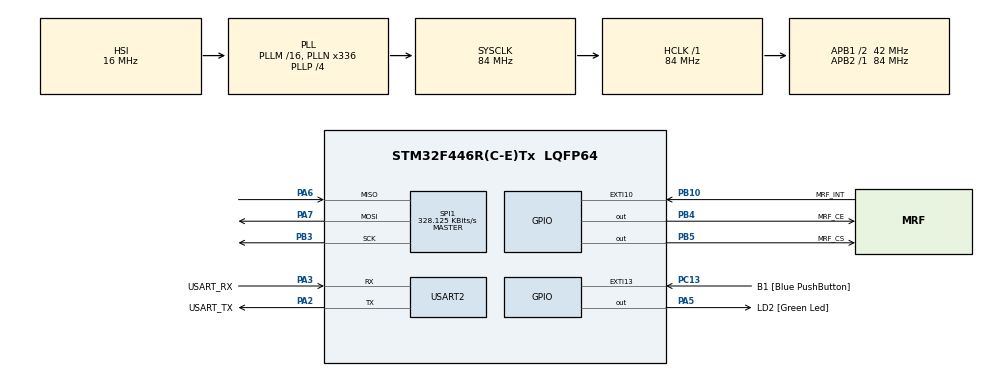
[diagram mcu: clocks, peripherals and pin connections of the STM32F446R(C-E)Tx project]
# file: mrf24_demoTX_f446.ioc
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Mcu.Family=STM32F4
Mcu.Name=STM32F446R(C-E)Tx
Mcu.Package=LQFP64
NVIC.EXTI15_10_IRQn=true\:0\:0\:false\:false\:true\:true\:true\:true
NVIC.PriorityGroup=NVIC_PRIORITYGROUP_0
NVIC.USART2_IRQn=true\:0\:0\:false\:false\:true\:true\:true\:true
PA13.GPIO_Label=TMS
PA13.Mode=Serial_Wire
PA13.Signal=SYS_JTMS-SWDIO
PA14.GPIO_Label=TCK
PA14.Mode=Serial_Wire
PA14.Signal=SYS_JTCK-SWCLK
PA2.GPIO_Label=USART_TX
PA2.Mode=Asynchronous
PA2.Signal=USART2_TX
PA3.GPIO_Label=USART_RX
PA3.Mode=Asynchronous
PA3.Signal=USART2_RX
PA5.GPIO_Label=LD2 [Green Led]
PA5.Signal=GPIO_Output
PA6.Mode=Full_Duplex_Master
PA6.Signal=SPI1_MISO
PA7.Mode=Full_Duplex_Master
PA7.Signal=SPI1_MOSI
PB10.GPIO_Label=MRF_INT
PB10.GPIO_ModeDefaultEXTI=GPIO_MODE_IT_FALLING
PB10.GPIO_PuPd=GPIO_PULLUP
PB10.Signal=GPXTI10
PB3.Mode=Full_Duplex_Master
PB3.Signal=SPI1_SCK
PB4.GPIO_Label=MRF_CE
PB4.Signal=GPIO_Output
PB5.GPIO_Label=MRF_CS
PB5.Signal=GPIO_Output
PC13.GPIO_Label=B1 [Blue PushButton]
PC13.GPIO_ModeDefaultEXTI=GPIO_MODE_IT_FALLING
PC13.Signal=GPXTI13
PC14-OSC32_IN.Signal=RCC_OSC32_IN
PC15-OSC32_OUT.Signal=RCC_OSC32_OUT
PH0-OSC_IN.Signal=RCC_OSC_IN
PH1-OSC_OUT.Signal=RCC_OSC_OUT
ProjectManager.HeapSize=0x200
ProjectManager.StackSize=0x400
ProjectManager.TargetToolchain=STM32CubeIDE
RCC.AHBFreq_Value=84000000
RCC.APB1CLKDivider=RCC_HCLK_DIV2
RCC.APB1Freq_Value=42000000
RCC.APB1TimFreq_Value=84000000
RCC.APB2Freq_Value=84000000
RCC.APB2TimFreq_Value=84000000
RCC.CortexFreq_Value=84000000
RCC.FLatency-AdvancedSettings=FLASH_LATENCY_2
RCC.HCLKFreq_Value=84000000
RCC.HSE_VALUE=8000000
RCC.HSI_VALUE=16000000
RCC.LSE_VALUE=32768
RCC.PLLN=336
RCC.PLLP=RCC_PLLP_DIV4
RCC.SYSCLKFreq_VALUE=84000000
RCC.SYSCLKSource=RCC_SYSCLKSOURCE_PLLCLK
RCC.USBFreq_Value=168000000
RCC.VCOOutputFreq_Value=336000000
SPI1.BaudRatePrescaler=SPI_BAUDRATEPRESCALER_256
SPI1.CalculateBaudRate=328.125 KBits/s
SPI1.Direction=SPI_DIRECTION_2LINES
SPI1.Mode=SPI_MODE_MASTER
SPI1.VirtualType=VM_MASTER
USART2.VirtualMode=VM_ASYNC
board=NUCLEO-F446RE

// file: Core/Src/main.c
/* USER CODE BEGIN Header */
/**
  ******************************************************************************
  * @file           : main.c
  * @brief          : Main program body
  ******************************************************************************
  * @attention
  *
  * Copyright (c) 2026 STMicroelectronics.
  * All rights reserved.
  *
  * This software is licensed under terms that can be found in the LICENSE file
  * in the root directory of this software component.
  * If no LICENSE file comes with this software, it is provided AS-IS.
  *
  ******************************************************************************
  */
/* USER CODE END Header */
#include "main.h"

/* USER CODE BEGIN Includes */
#include "MRF24J40.h"
#include <stdio.h>
#include <string.h>
#include <stdlib.h>
#include <ctype.h>
/* USER CODE END Includes */

/* USER CODE BEGIN PD */
#define TX_COMMAND_MAX_LEN 32U

/* USER CODE END PD */

SPI_HandleTypeDef hspi1;

UART_HandleTypeDef huart2;

void SystemClock_Config(void);
static void MX_GPIO_Init(void);
static void MX_SPI1_Init(void);
static void MX_USART2_UART_Init(void);
/* USER CODE BEGIN PFP */
static void TX_SendPcCommand(uint8_t *cmd, uint8_t len);
static uint8_t TX_CommandIsValid(const uint8_t *cmd, uint8_t len);
static uint8_t TX_WaitMrfTxOk(uint8_t previous_tx_count);
static void TX_ProcessPcCommand(uint8_t *cmd, uint8_t *len);

/* USER CODE END PFP */

/* USER CODE BEGIN 0 */

static void TX_SendPcCommand(uint8_t *cmd, uint8_t len)
{
  if (len == 0U)
  {
	  return;
  }

  uint8_t *tx_data = cmd;
  uint8_t tx_len = len;
  uint8_t repeats = 1U;
  uint8_t tx_before = flag_got_tx;
  uint8_t tx_ok = 0U;

  for (uint8_t n = 0; n < repeats; n++)
  {
	  Mrf24j_send16(0xffff, (char*)tx_data, tx_len);
	  tx_ok = TX_WaitMrfTxOk(tx_before);
	  tx_before = flag_got_tx;
  }

  if (tx_ok)
  {
	  HAL_GPIO_TogglePin(LD2_GPIO_Port, LD2_Pin);
	  HAL_UART_Transmit(&huart2, (uint8_t*)"TX OK ", 6, 100);
	  HAL_UART_Transmit(&huart2, cmd, len, 100);
	  HAL_UART_Transmit(&huart2, (uint8_t*)"\r\n", 2, 100);
  }
  else
  {
	  char msg[32];
	  uint8_t txstat = Mrf24j_read_short(MRF_TXSTAT);
	  if ((txstat & ((1 << TXNSTAT) | (1 << CCAFAIL))) == 0U)
	  {
		  HAL_GPIO_TogglePin(LD2_GPIO_Port, LD2_Pin);
		  HAL_UART_Transmit(&huart2, (uint8_t*)"TX OK ", 6, 100);
		  HAL_UART_Transmit(&huart2, cmd, len, 100);
		  HAL_UART_Transmit(&huart2, (uint8_t*)"\r\n", 2, 100);
	  }
	  else
	  {
		  int msg_len = snprintf(msg, sizeof(msg), "TX FAIL stat=0x%02X\r\n", txstat);
		  if (msg_len > 0)
		  {
			  HAL_UART_Transmit(&huart2, (uint8_t*)msg, (uint16_t)msg_len, 100);
		  }
	  }
  }
}

static uint8_t TX_WaitMrfTxOk(uint8_t previous_tx_count)
{
  uint32_t start = HAL_GetTick();

  while ((HAL_GetTick() - start) < 500U)
  {
	  if (HAL_GPIO_ReadPin(MRF_INT_GPIO_Port, MRF_INT_Pin) == GPIO_PIN_RESET)
	  {
		  Mrf24j_interrupt_handler();
	  }

	  uint8_t intstat = Mrf24j_read_short(MRF_INTSTAT);
	  if (intstat & MRF_I_TXNIF)
	  {
		  uint8_t txstat = Mrf24j_read_short(MRF_TXSTAT);
		  flag_got_tx++;
		  tx_info.tx_ok = ((txstat & ((1 << TXNSTAT) | (1 << CCAFAIL))) == 0U);
		  tx_info.retries = txstat >> 6;
		  tx_info.channel_busy = (txstat & (1 << CCAFAIL));
	  }

	  if (flag_got_tx != previous_tx_count)
	  {
		  return tx_info.tx_ok ? 1U : 0U;
	  }
  }

  uint8_t txstat = Mrf24j_read_short(MRF_TXSTAT);
  return ((txstat & ((1 << TXNSTAT) | (1 << CCAFAIL))) == 0U) ? 1U : 0U;
}

static uint8_t TX_CommandIsValid(const uint8_t *cmd, uint8_t len)
{
  char text[TX_COMMAND_MAX_LEN];

  if ((cmd == NULL) || (len == 0U) || (len >= TX_COMMAND_MAX_LEN))
  {
	  return 0U;
  }

  memcpy(text, cmd, len);
  text[len] = '\0';

  char *p = text;
  while (isspace((unsigned char)*p))
  {
	  p++;
  }

  char *end = p;
  (void)strtol(p, &end, 10);
  if (end == p)
  {
	  return 0U;
  }

  while (isspace((unsigned char)*end))
  {
	  end++;
  }

  if (((end[0] != 'm') && (end[0] != 'M')) || ((end[1] != 'm') && (end[1] != 'M')))
  {
	  return 0U;
  }
  end += 2;

  while (isspace((unsigned char)*end))
  {
	  end++;
  }

  if ((end[0] != '0') && (end[0] != '1'))
  {
	  return 0U;
  }
  end++;

  while (isspace((unsigned char)*end))
  {
	  end++;
  }

  return (*end == '\0') ? 1U : 0U;
}

static void TX_ProcessPcCommand(uint8_t *cmd, uint8_t *len)
{
  if (*len == 0U)
  {
	  return;
  }

  HAL_UART_Transmit(&huart2, (uint8_t*)"RX ", 3, 100);
  HAL_UART_Transmit(&huart2, cmd, *len, 100);
  HAL_UART_Transmit(&huart2, (uint8_t*)"\r\n", 2, 100);

  if (TX_CommandIsValid(cmd, *len))
  {
	  TX_SendPcCommand(cmd, *len);
  }
  else
  {
	  HAL_UART_Transmit(&huart2, (uint8_t*)"ERR\r\n", 5, 100);
  }

  *len = 0U;
}

/* USER CODE END 0 */

int main(void)
{

  /* MCU Configuration--------------------------------------------------------*/

  /* Reset of all peripherals, Initializes the Flash interface and the Systick. */
  HAL_Init();

  /* Configure the system clock */
  SystemClock_Config();

  /* Initialize all configured peripherals */
  MX_GPIO_Init();
  MX_SPI1_Init();
  MX_USART2_UART_Init();
  /* USER CODE BEGIN 2 */

  // MRF SETUP
  MRF_InitSPI(&hspi1, &huart2, 0);
  MRF_InitGPIO(MRF_CS_GPIO_Port, MRF_CS_Pin, MRF_CE_GPIO_Port, MRF_CE_Pin, MRF_INT_GPIO_Port, MRF_INT_Pin);

  Mrf24j_init(20u);

  {
	  uint16_t pan = Mrf24j_get_pan();
	  uint8_t rfcon0 = Mrf24j_read_long(MRF_RFCON0);
	  uint8_t rfcon6 = Mrf24j_read_long(MRF_RFCON6);
	  uint8_t rxmcr = Mrf24j_read_short(MRF_RXMCR);
	  char msg[80];
	  int msg_len = snprintf(msg, sizeof(msg),
			  	  	  	  	 "TX MRF PAN=0x%04X RFCON0=0x%02X RFCON6=0x%02X RXMCR=0x%02X\r\n",
							 pan, rfcon0, rfcon6, rxmcr);
	  if (msg_len > 0)
	  {
		  HAL_UART_Transmit(&huart2, (uint8_t*)msg, (uint16_t)msg_len, HAL_MAX_DELAY);
	  }
  }

  /* USER CODE END 2 */

  /* Infinite loop */
  /* USER CODE BEGIN WHILE */
  HAL_UART_Transmit(&huart2, (uint8_t*)"MRF PC-command ready: use 300mm 0!\r\n", 36, HAL_MAX_DELAY);
  uint8_t pc_cmd[TX_COMMAND_MAX_LEN];
  uint8_t pc_cmd_len = 0U;
  while (1)
  {
	  uint8_t ch;

	  while (HAL_UART_Receive(&huart2, &ch, 1, 50) == HAL_OK)
	  {
		  if (ch == '!')
		  {
			  TX_ProcessPcCommand(pc_cmd, &pc_cmd_len);
		  }
		  else if ((ch == '\r') || (ch == '\n'))
		  {
			  /* Commands are ended only with '!'. Ignore terminal line endings. */
		  }
		  else if ((ch == '\b') || (ch == 0x7FU))
		  {
			  if (pc_cmd_len > 0U)
			  {
				  pc_cmd_len--;
			  }
		  }
		  else if (pc_cmd_len < (TX_COMMAND_MAX_LEN - 1U))
		  {
			  pc_cmd[pc_cmd_len++] = ch;
		  }
		  else
		  {
			  pc_cmd_len = 0U;
			  HAL_UART_Transmit(&huart2, (uint8_t*)"ERR len\r\n", 9, 100);
		  }
	  }

	  Mrf24j_poll_uart();

	  HAL_Delay(1);
    /* USER CODE END WHILE */

  }
}

void SystemClock_Config(void)
{
  RCC_OscInitTypeDef RCC_OscInitStruct = {0};
  RCC_ClkInitTypeDef RCC_ClkInitStruct = {0};

  /** Configure the main internal regulator output voltage
  */
  __HAL_RCC_PWR_CLK_ENABLE();
  __HAL_PWR_VOLTAGESCALING_CONFIG(PWR_REGULATOR_VOLTAGE_SCALE3);

  /** Initializes the RCC Oscillators according to the specified parameters
  * in the RCC_OscInitTypeDef structure.
  */
  RCC_OscInitStruct.OscillatorType = RCC_OSCILLATORTYPE_HSI;
  RCC_OscInitStruct.HSIState = RCC_HSI_ON;
  RCC_OscInitStruct.HSICalibrationValue = RCC_HSICALIBRATION_DEFAULT;
  RCC_OscInitStruct.PLL.PLLState = RCC_PLL_ON;
  RCC_OscInitStruct.PLL.PLLSource = RCC_PLLSOURCE_HSI;
  RCC_OscInitStruct.PLL.PLLM = 16;
  RCC_OscInitStruct.PLL.PLLN = 336;
  RCC_OscInitStruct.PLL.PLLP = RCC_PLLP_DIV4;
  RCC_OscInitStruct.PLL.PLLQ = 2;
  RCC_OscInitStruct.PLL.PLLR = 2;
  if (HAL_RCC_OscConfig(&RCC_OscInitStruct) != HAL_OK)
  {
    Error_Handler();
  }

  /** Initializes the CPU, AHB and APB buses clocks
  */
  RCC_ClkInitStruct.ClockType = RCC_CLOCKTYPE_HCLK|RCC_CLOCKTYPE_SYSCLK
                              |RCC_CLOCKTYPE_PCLK1|RCC_CLOCKTYPE_PCLK2;
  RCC_ClkInitStruct.SYSCLKSource = RCC_SYSCLKSOURCE_PLLCLK;
  RCC_ClkInitStruct.AHBCLKDivider = RCC_SYSCLK_DIV1;
  RCC_ClkInitStruct.APB1CLKDivider = RCC_HCLK_DIV2;
  RCC_ClkInitStruct.APB2CLKDivider = RCC_HCLK_DIV1;

  if (HAL_RCC_ClockConfig(&RCC_ClkInitStruct, FLASH_LATENCY_2) != HAL_OK)
  {
    Error_Handler();
  }
}

static void MX_SPI1_Init(void)
{

  /* SPI1 parameter configuration*/
  hspi1.Instance = SPI1;
  hspi1.Init.Mode = SPI_MODE_MASTER;
  hspi1.Init.Direction = SPI_DIRECTION_2LINES;
  hspi1.Init.DataSize = SPI_DATASIZE_8BIT;
  hspi1.Init.CLKPolarity = SPI_POLARITY_LOW;
  hspi1.Init.CLKPhase = SPI_PHASE_1EDGE;
  hspi1.Init.NSS = SPI_NSS_SOFT;
  hspi1.Init.BaudRatePrescaler = SPI_BAUDRATEPRESCALER_256;
  hspi1.Init.FirstBit = SPI_FIRSTBIT_MSB;
  hspi1.Init.TIMode = SPI_TIMODE_DISABLE;
  hspi1.Init.CRCCalculation = SPI_CRCCALCULATION_DISABLE;
  hspi1.Init.CRCPolynomial = 10;
  if (HAL_SPI_Init(&hspi1) != HAL_OK)
  {
    Error_Handler();
  }

}

static void MX_USART2_UART_Init(void)
{

  huart2.Instance = USART2;
  huart2.Init.BaudRate = 115200;
  huart2.Init.WordLength = UART_WORDLENGTH_8B;
  huart2.Init.StopBits = UART_STOPBITS_1;
  huart2.Init.Parity = UART_PARITY_NONE;
  huart2.Init.Mode = UART_MODE_TX_RX;
  huart2.Init.HwFlowCtl = UART_HWCONTROL_NONE;
  huart2.Init.OverSampling = UART_OVERSAMPLING_16;
  if (HAL_UART_Init(&huart2) != HAL_OK)
  {
    Error_Handler();
  }

}

static void MX_GPIO_Init(void)
{
  GPIO_InitTypeDef GPIO_InitStruct = {0};

  /* GPIO Ports Clock Enable */
  __HAL_RCC_GPIOC_CLK_ENABLE();
  __HAL_RCC_GPIOH_CLK_ENABLE();
  __HAL_RCC_GPIOA_CLK_ENABLE();
  __HAL_RCC_GPIOB_CLK_ENABLE();

  /*Configure GPIO pin Output Level */
  HAL_GPIO_WritePin(LD2_GPIO_Port, LD2_Pin, GPIO_PIN_RESET);

  /*Configure GPIO pin Output Level */
  HAL_GPIO_WritePin(MRF_CE_GPIO_Port, MRF_CE_Pin, GPIO_PIN_RESET);
  HAL_GPIO_WritePin(MRF_CS_GPIO_Port, MRF_CS_Pin, GPIO_PIN_SET);

  /*Configure GPIO pin : B1_Pin */
  GPIO_InitStruct.Pin = B1_Pin;
  GPIO_InitStruct.Mode = GPIO_MODE_IT_FALLING;
  GPIO_InitStruct.Pull = GPIO_NOPULL;
  HAL_GPIO_Init(B1_GPIO_Port, &GPIO_InitStruct);

  /*Configure GPIO pin : LD2_Pin */
  GPIO_InitStruct.Pin = LD2_Pin;
  GPIO_InitStruct.Mode = GPIO_MODE_OUTPUT_PP;
  GPIO_InitStruct.Pull = GPIO_NOPULL;
  GPIO_InitStruct.Speed = GPIO_SPEED_FREQ_LOW;
  HAL_GPIO_Init(LD2_GPIO_Port, &GPIO_InitStruct);

  /*Configure GPIO pin : MRF_INT_Pin */
  GPIO_InitStruct.Pin = MRF_INT_Pin;
  GPIO_InitStruct.Mode = GPIO_MODE_IT_FALLING;
  GPIO_InitStruct.Pull = GPIO_PULLUP;
  HAL_GPIO_Init(MRF_INT_GPIO_Port, &GPIO_InitStruct);

  /*Configure GPIO pins : MRF_CE_Pin MRF_CS_Pin */
  GPIO_InitStruct.Pin = MRF_CE_Pin|MRF_CS_Pin;
  GPIO_InitStruct.Mode = GPIO_MODE_OUTPUT_PP;
  GPIO_InitStruct.Pull = GPIO_NOPULL;
  GPIO_InitStruct.Speed = GPIO_SPEED_FREQ_LOW;
  HAL_GPIO_Init(GPIOB, &GPIO_InitStruct);

  /* EXTI interrupt init*/
  HAL_NVIC_SetPriority(EXTI15_10_IRQn, 0, 0);
  HAL_NVIC_EnableIRQ(EXTI15_10_IRQn);

}

void Error_Handler(void)
{
  __disable_irq();
  while (1)
  {
  }
}
